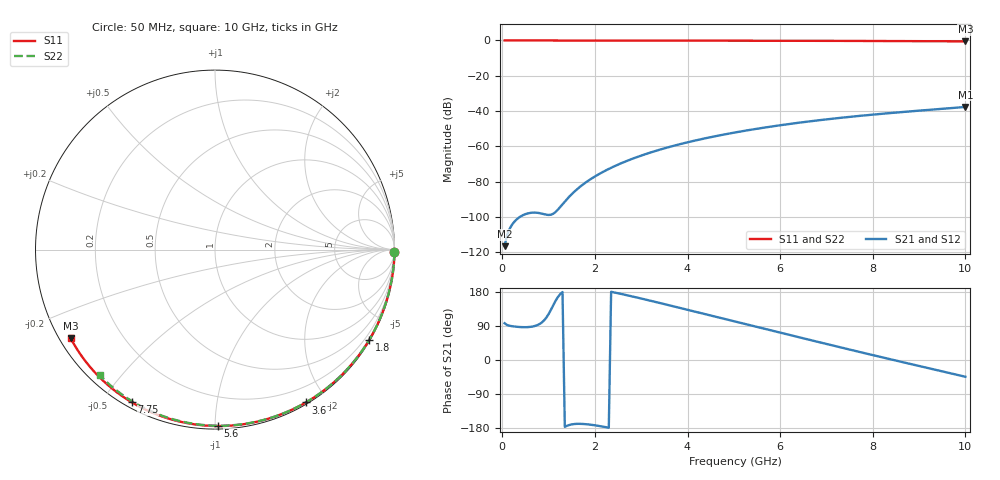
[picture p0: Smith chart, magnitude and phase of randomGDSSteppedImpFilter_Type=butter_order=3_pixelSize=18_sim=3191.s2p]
! freq	dB(S11)	phase(S11)	dB(S12)	phase(S12)
!  dB(S21)	phase(S21)	dB(S22)	phase(S22)
!S-par simulation data
#  GHz  S  DB  R 50
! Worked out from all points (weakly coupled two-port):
!   200 points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, 50 MHz to 10 GHz, reference 50 ohm
!   highest |S21| = -37.70 dB at 10 GHz (marker M1); lowest = -116.6 dB at 50 MHz (marker M2)
!   lowest |S11| = -0.5 dB at 10 GHz (marker M3), VSWR 34.48, Z = 1.57 - j14.1 ohm
!   |S11| at or under -10 dB: nowhere
!   |S22| runs from -0.4 to 0.0 dB; largest |S21 - S12| = 0
!   S11 on the Smith chart (normalised r, x): 50 MHz: open; 1.8 GHz: 0.03, -3.69; 3.6 GHz: 0.02, -1.76; 5.6 GHz: 0.02, -1.02; 7.75 GHz: 0.02, -0.59; 10 GHz: 0.03, -0.28
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0.05  -0.00 -0.9  -116.62 97.0  -116.62 97.0  -0.00 -0.8
0.45  -0.01 -7.7  -99.00 86.6  -99.00 86.6  -0.01 -6.9
0.9  -0.02 -15.3  -98.46 104.3  -98.46 104.3  -0.02 -13.7
1.75  -0.04 -29.5  -81.50 -168.8  -81.50 -168.8  -0.03 -26.5
1.8  -0.04 -30.4  -80.54 -169.3  -80.54 -169.3  -0.03 -27.2
1.85  -0.04 -31.2  -79.62 -169.9  -79.62 -169.9  -0.04 -27.9
2.05  -0.04 -34.5  -76.32 -173.2  -76.32 -173.2  -0.04 -30.9
2.2  -0.05 -36.9  -74.15 -176.4  -74.15 -176.4  -0.04 -33.1
2.55  -0.05 -42.6  -69.80 174.8  -69.80 174.8  -0.05 -38.2
2.95  -0.06 -49.0  -65.72 163.7  -65.72 163.7  -0.06 -44.0
3.4  -0.07 -56.1  -61.91 150.5  -61.91 150.5  -0.07 -50.4
3.6  -0.08 -59.2  -60.42 144.5  -60.42 144.5  -0.07 -53.2
4.3  -0.10 -69.9  -55.93 123.5  -55.93 123.5  -0.09 -62.8
5.05  -0.12 -81.1  -52.05 100.8  -52.05 100.8  -0.11 -72.9
5.6  -0.15 -89.0  -49.64 84.3  -49.64 84.3  -0.13 -80.1
6.15  -0.17 -96.8  -47.52 67.7  -47.52 67.7  -0.15 -87.1
6.7  -0.20 -104.4  -45.65 51.3  -45.65 51.3  -0.18 -93.9
7.2  -0.24 -111.2  -44.15 36.4  -44.15 36.4  -0.21 -100.0
7.75  -0.28 -118.6  -42.66 20.2  -42.66 20.2  -0.25 -106.6
8.35  -0.33 -126.6  -41.22 2.8  -41.22 2.8  -0.29 -113.7
9.2  -0.41 -137.9  -39.37 -21.4  -39.37 -21.4  -0.37 -123.5
10  -0.50 -148.5  -37.70 -44.2  -37.70 -44.2  -0.44 -132.6
